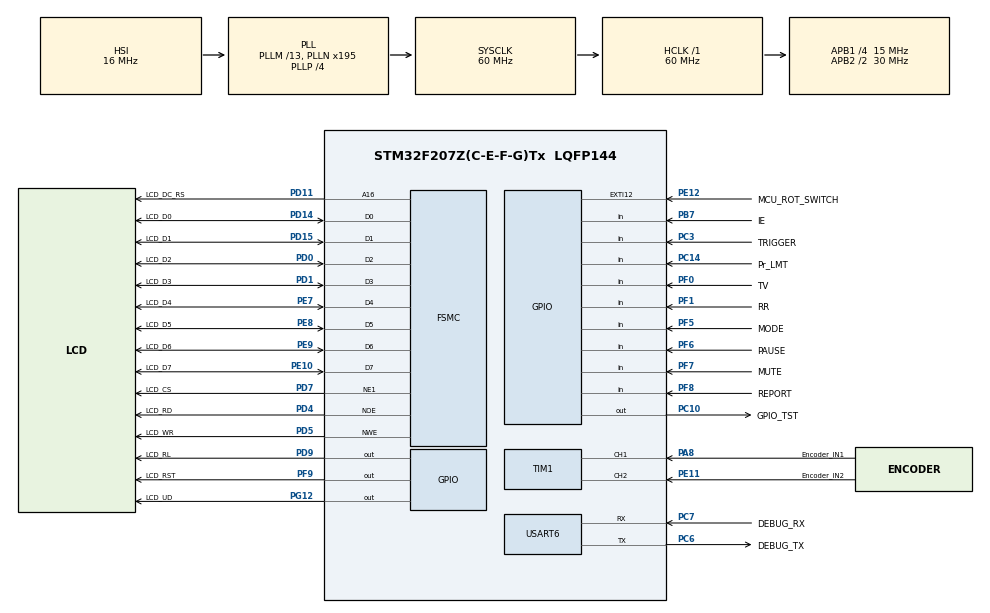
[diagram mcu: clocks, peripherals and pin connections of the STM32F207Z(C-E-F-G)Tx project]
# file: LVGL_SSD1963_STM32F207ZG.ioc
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FSMC.AddressSetupTime1=1
FSMC.BusTurnAroundDuration1=0
FSMC.DataSetupTime1=4
FSMC.ExtendedMode1=FSMC_EXTENDED_MODE_DISABLE
Mcu.Family=STM32F2
Mcu.Name=STM32F207Z(C-E-F-G)Tx
Mcu.Package=LQFP144
NVIC.EXTI15_10_IRQn=true\:0\:0\:false\:true\:true\:8\:true\:true
NVIC.PriorityGroup=NVIC_PRIORITYGROUP_4
NVIC.TIM1_CC_IRQn=true\:0\:0\:false\:true\:true\:7\:true\:true
NVIC.TIM7_IRQn=true\:0\:0\:false\:true\:true\:10\:true\:true
NVIC.USART6_IRQn=true\:0\:0\:false\:true\:true\:9\:true\:true
PA8.GPIO_Label=Encoder_IN1
PA8.GPIO_PuPd=GPIO_PULLUP
PA8.GPIO_Speed=GPIO_SPEED_FREQ_VERY_HIGH
PA8.Signal=S_TIM1_CH1
PB7.GPIO_Label=IE
PB7.GPIO_PuPd=GPIO_PULLDOWN
PB7.Signal=GPIO_Input
PC10.GPIO_Label=GPIO_TST
PC10.Signal=GPIO_Output
PC14-OSC32_IN.GPIO_Label=Pr_LMT
PC14-OSC32_IN.GPIO_PuPd=GPIO_PULLDOWN
PC14-OSC32_IN.Signal=GPIO_Input
PC3.GPIO_Label=TRIGGER
PC3.GPIO_PuPd=GPIO_PULLDOWN
PC3.Signal=GPIO_Input
PC6.GPIO_Label=DEBUG_TX
PC6.Mode=Asynchronous
PC6.Signal=USART6_TX
PC7.GPIO_Label=DEBUG_RX
PC7.Mode=Asynchronous
PC7.Signal=USART6_RX
PD0.GPIO_Label=LCD_D2
PD0.Signal=FSMC_D2_DA2
PD1.GPIO_Label=LCD_D3
PD1.Signal=FSMC_D3_DA3
PD11.GPIO_Label=LCD_DC_RS
PD11.Signal=FSMC_A16_CLE
PD14.GPIO_Label=LCD_D0
PD14.Signal=FSMC_D0_DA0
PD15.GPIO_Label=LCD_D1
PD15.Signal=FSMC_D1_DA1
PD4.GPIO_Label=LCD_RD
PD4.Signal=FSMC_NOE
PD5.GPIO_Label=LCD_WR
PD5.Signal=FSMC_NWE
PD7.GPIO_Label=LCD_CS
PD7.GPIO_PuPd=GPIO_PULLDOWN
PD7.Mode=NorPsramChipSelect1_1
PD7.Signal=FSMC_NE1
PD9.GPIO_Label=LCD_RL
PD9.GPIO_PuPd=GPIO_PULLUP
PD9.GPIO_Speed=GPIO_SPEED_FREQ_VERY_HIGH
PD9.PinState=GPIO_PIN_SET
PD9.Signal=GPIO_Output
PE10.GPIO_Label=LCD_D7
PE10.Signal=FSMC_D7_DA7
PE11.GPIO_Label=Encoder_IN2
PE11.GPIO_PuPd=GPIO_PULLDOWN
PE11.GPIO_Speed=GPIO_SPEED_FREQ_VERY_HIGH
PE11.Signal=S_TIM1_CH2
PE12.GPIO_Label=MCU_ROT_SWITCH
PE12.Signal=GPXTI12
PE7.GPIO_Label=LCD_D4
PE7.Signal=FSMC_D4_DA4
PE8.GPIO_Label=LCD_D5
PE8.Signal=FSMC_D5_DA5
PE9.GPIO_Label=LCD_D6
PE9.Signal=FSMC_D6_DA6
PF0.GPIO_Label=TV
PF0.GPIO_PuPd=GPIO_PULLDOWN
PF0.Signal=GPIO_Input
PF1.GPIO_Label=RR
PF1.GPIO_PuPd=GPIO_PULLDOWN
PF1.Signal=GPIO_Input
PF5.GPIO_Label=MODE
PF5.GPIO_PuPd=GPIO_PULLDOWN
PF5.Signal=GPIO_Input
PF6.GPIO_Label=PAUSE
PF6.GPIO_PuPd=GPIO_PULLDOWN
PF6.Signal=GPIO_Input
PF7.GPIO_Label=MUTE
PF7.GPIO_PuPd=GPIO_PULLDOWN
PF7.Signal=GPIO_Input
PF8.GPIO_Label=REPORT
PF8.GPIO_PuPd=GPIO_PULLDOWN
PF8.Signal=GPIO_Input
PF9.GPIO_Label=LCD_RST
PF9.GPIO_PuPd=GPIO_PULLUP
PF9.GPIO_Speed=GPIO_SPEED_FREQ_VERY_HIGH
PF9.PinState=GPIO_PIN_SET
PF9.Signal=GPIO_Output
PG12.GPIO_Label=LCD_UD
PG12.GPIO_PuPd=GPIO_PULLUP
PG12.GPIO_Speed=GPIO_SPEED_FREQ_VERY_HIGH
PG12.PinState=GPIO_PIN_RESET
PG12.Signal=GPIO_Output
PH0-OSC_IN.Mode=HSE-External-Oscillator
PH0-OSC_IN.Signal=RCC_OSC_IN
PH1-OSC_OUT.Mode=HSE-External-Oscillator
PH1-OSC_OUT.Signal=RCC_OSC_OUT
ProjectManager.HeapSize=0x200
ProjectManager.StackSize=0x400
ProjectManager.TargetToolchain=STM32CubeIDE
RCC.48MHZClocksFreq_Value=60000000
RCC.AHBFreq_Value=60000000
RCC.APB1CLKDivider=RCC_HCLK_DIV4
RCC.APB1Freq_Value=15000000
RCC.APB1TimFreq_Value=30000000
RCC.APB2CLKDivider=RCC_HCLK_DIV2
RCC.APB2Freq_Value=30000000
RCC.APB2TimFreq_Value=60000000
RCC.CortexFreq_Value=60000000
RCC.HCLKFreq_Value=60000000
RCC.HSE_VALUE=25000000
RCC.HSI_VALUE=16000000
RCC.LSE_VALUE=32768
RCC.PLLM=13
RCC.PLLN=195
RCC.PLLP=RCC_PLLP_DIV4
RCC.SYSCLKFreq_VALUE=60000000
RCC.SYSCLKSource=RCC_SYSCLKSOURCE_PLLCLK
RCC.VCOOutputFreq_Value=240000000
SH.FSMC_A16_CLE.0=FSMC_A16,A16_1
SH.FSMC_D0_DA0.0=FSMC_D0,8b-d1
SH.FSMC_D1_DA1.0=FSMC_D1,8b-d1
SH.FSMC_D2_DA2.0=FSMC_D2,8b-d1
SH.FSMC_D3_DA3.0=FSMC_D3,8b-d1
SH.FSMC_D4_DA4.0=FSMC_D4,8b-d1
SH.FSMC_D5_DA5.0=FSMC_D5,8b-d1
SH.FSMC_D6_DA6.0=FSMC_D6,8b-d1
SH.FSMC_D7_DA7.0=FSMC_D7,8b-d1
SH.FSMC_NOE.0=FSMC_NOE,Lcd1
SH.FSMC_NWE.0=FSMC_NWE,Lcd1
SH.S_TIM1_CH1.0=TIM1_CH1,Encoder_Interface
SH.S_TIM1_CH2.0=TIM1_CH2,Encoder_Interface
TIM7.AutoReloadPreload=TIM_AUTORELOAD_PRELOAD_ENABLE
TIM7.Period=1
TIM7.Prescaler=30000
USART6.VirtualMode=VM_ASYNC
VP_TIM7_VS_ClockSourceINT.Mode=Enable_Timer
board=custom

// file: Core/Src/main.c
/* USER CODE BEGIN Header */
/**
  ******************************************************************************
  * @file           : main.c
  * @brief          : Main program body
  ******************************************************************************
  * @attention
  *
  * <h2><center>&copy; Copyright (c) 2020 STMicroelectronics.
  * All rights reserved.</center></h2>
  *
  * This software component is licensed by ST under BSD 3-Clause license,
  * the "License"; You may not use this file except in compliance with the
  * License. You may obtain a copy of the License at:
  *                        opensource.org/licenses/BSD-3-Clause
  *
  ******************************************************************************
  */
/* USER CODE END Header */

#include "main.h"

/* USER CODE BEGIN Includes */
#include "../../Drivers/COMMON_DRV/Common.h"

/* USER CODE END Includes */

/* USER CODE BEGIN PTD */
extern char DBGBuff[128];
/* USER CODE END PTD */

/* USER CODE BEGIN PM */
GPIO_PinState HAL_OUTPUT_GPIO_Status(GPIO_TypeDef* GPIOx, uint16_t GPIO_Pin);

/* USER CODE END PM */

TIM_HandleTypeDef htim1;
TIM_HandleTypeDef htim7;

UART_HandleTypeDef huart6;

SRAM_HandleTypeDef hsram1;

void SystemClock_Config(void);
static void MX_GPIO_Init(void);
static void MX_FSMC_Init(void);
static void MX_TIM1_Init(void);
static void MX_USART6_UART_Init(void);
static void MX_TIM7_Init(void);
static void MX_NVIC_Init(void);

int main(void)
{

  /* MCU Configuration--------------------------------------------------------*/

  /* Reset of all peripherals, Initializes the Flash interface and the Systick. */
  HAL_Init();

  /* Configure the system clock */
  SystemClock_Config();

  /* Initialize all configured peripherals */
  MX_GPIO_Init();
  MX_FSMC_Init();
  MX_TIM1_Init();
  MX_USART6_UART_Init();
  MX_TIM7_Init();

  /* Initialize interrupts */
  MX_NVIC_Init();
  /* USER CODE BEGIN 2 */
  HAL_TIM_Base_Start_IT(&htim7);

  //LVGL Test
  lv_init();

  LVGL_GUI_Init();

  Ventilator_GUI_Init();

  /* USER CODE END 2 */

  /* Infinite loop */
  /* USER CODE BEGIN WHILE */
  while (1)
  {

	//create_chart();

	HAL_Delay(1);

    /* USER CODE END WHILE */

  }
}

void SystemClock_Config(void)
{
  RCC_OscInitTypeDef RCC_OscInitStruct = {0};
  RCC_ClkInitTypeDef RCC_ClkInitStruct = {0};

  /** Initializes the CPU, AHB and APB busses clocks
  */
  RCC_OscInitStruct.OscillatorType = RCC_OSCILLATORTYPE_HSI;
  RCC_OscInitStruct.HSIState = RCC_HSI_ON;
  RCC_OscInitStruct.HSICalibrationValue = RCC_HSICALIBRATION_DEFAULT;
  RCC_OscInitStruct.PLL.PLLState = RCC_PLL_ON;
  RCC_OscInitStruct.PLL.PLLSource = RCC_PLLSOURCE_HSI;
  RCC_OscInitStruct.PLL.PLLM = 13;
  RCC_OscInitStruct.PLL.PLLN = 195;
  RCC_OscInitStruct.PLL.PLLP = RCC_PLLP_DIV4;
  RCC_OscInitStruct.PLL.PLLQ = 4;
  if (HAL_RCC_OscConfig(&RCC_OscInitStruct) != HAL_OK)
  {
    Error_Handler();
  }
  /** Initializes the CPU, AHB and APB busses clocks
  */
  RCC_ClkInitStruct.ClockType = RCC_CLOCKTYPE_HCLK|RCC_CLOCKTYPE_SYSCLK
                              |RCC_CLOCKTYPE_PCLK1|RCC_CLOCKTYPE_PCLK2;
  RCC_ClkInitStruct.SYSCLKSource = RCC_SYSCLKSOURCE_PLLCLK;
  RCC_ClkInitStruct.AHBCLKDivider = RCC_SYSCLK_DIV1;
  RCC_ClkInitStruct.APB1CLKDivider = RCC_HCLK_DIV4;
  RCC_ClkInitStruct.APB2CLKDivider = RCC_HCLK_DIV2;

  if (HAL_RCC_ClockConfig(&RCC_ClkInitStruct, FLASH_LATENCY_1) != HAL_OK)
  {
    Error_Handler();
  }
}

/**
  * @brief NVIC Configuration.
  * @retval None
  */
static void MX_NVIC_Init(void)
{
  /* TIM1_CC_IRQn interrupt configuration */
  HAL_NVIC_SetPriority(TIM1_CC_IRQn, 0, 0);
  HAL_NVIC_EnableIRQ(TIM1_CC_IRQn);
  /* EXTI15_10_IRQn interrupt configuration */
  HAL_NVIC_SetPriority(EXTI15_10_IRQn, 0, 0);
  HAL_NVIC_EnableIRQ(EXTI15_10_IRQn);
  /* USART6_IRQn interrupt configuration */
  HAL_NVIC_SetPriority(USART6_IRQn, 0, 0);
  HAL_NVIC_EnableIRQ(USART6_IRQn);
  /* TIM7_IRQn interrupt configuration */
  HAL_NVIC_SetPriority(TIM7_IRQn, 0, 0);
  HAL_NVIC_EnableIRQ(TIM7_IRQn);
}

static void MX_TIM1_Init(void)
{

  TIM_Encoder_InitTypeDef sConfig = {0};
  TIM_MasterConfigTypeDef sMasterConfig = {0};

  htim1.Instance = TIM1;
  htim1.Init.Prescaler = 0;
  htim1.Init.CounterMode = TIM_COUNTERMODE_UP;
  htim1.Init.Period = 0;
  htim1.Init.ClockDivision = TIM_CLOCKDIVISION_DIV1;
  htim1.Init.RepetitionCounter = 0;
  htim1.Init.AutoReloadPreload = TIM_AUTORELOAD_PRELOAD_DISABLE;
  sConfig.EncoderMode = TIM_ENCODERMODE_TI1;
  sConfig.IC1Polarity = TIM_ICPOLARITY_RISING;
  sConfig.IC1Selection = TIM_ICSELECTION_DIRECTTI;
  sConfig.IC1Prescaler = TIM_ICPSC_DIV1;
  sConfig.IC1Filter = 0;
  sConfig.IC2Polarity = TIM_ICPOLARITY_RISING;
  sConfig.IC2Selection = TIM_ICSELECTION_DIRECTTI;
  sConfig.IC2Prescaler = TIM_ICPSC_DIV1;
  sConfig.IC2Filter = 0;
  if (HAL_TIM_Encoder_Init(&htim1, &sConfig) != HAL_OK)
  {
    Error_Handler();
  }
  sMasterConfig.MasterOutputTrigger = TIM_TRGO_RESET;
  sMasterConfig.MasterSlaveMode = TIM_MASTERSLAVEMODE_DISABLE;
  if (HAL_TIMEx_MasterConfigSynchronization(&htim1, &sMasterConfig) != HAL_OK)
  {
    Error_Handler();
  }

}

static void MX_TIM7_Init(void)
{

  TIM_MasterConfigTypeDef sMasterConfig = {0};

  htim7.Instance = TIM7;
  htim7.Init.Prescaler = 30000;
  htim7.Init.CounterMode = TIM_COUNTERMODE_UP;
  htim7.Init.Period = 1;
  htim7.Init.AutoReloadPreload = TIM_AUTORELOAD_PRELOAD_ENABLE;
  if (HAL_TIM_Base_Init(&htim7) != HAL_OK)
  {
    Error_Handler();
  }
  sMasterConfig.MasterOutputTrigger = TIM_TRGO_RESET;
  sMasterConfig.MasterSlaveMode = TIM_MASTERSLAVEMODE_DISABLE;
  if (HAL_TIMEx_MasterConfigSynchronization(&htim7, &sMasterConfig) != HAL_OK)
  {
    Error_Handler();
  }

}

static void MX_USART6_UART_Init(void)
{

  huart6.Instance = USART6;
  huart6.Init.BaudRate = 115200;
  huart6.Init.WordLength = UART_WORDLENGTH_8B;
  huart6.Init.StopBits = UART_STOPBITS_1;
  huart6.Init.Parity = UART_PARITY_NONE;
  huart6.Init.Mode = UART_MODE_TX_RX;
  huart6.Init.HwFlowCtl = UART_HWCONTROL_NONE;
  huart6.Init.OverSampling = UART_OVERSAMPLING_16;
  if (HAL_UART_Init(&huart6) != HAL_OK)
  {
    Error_Handler();
  }

}

static void MX_GPIO_Init(void)
{
  GPIO_InitTypeDef GPIO_InitStruct = {0};

  /* GPIO Ports Clock Enable */
  __HAL_RCC_GPIOC_CLK_ENABLE();
  __HAL_RCC_GPIOF_CLK_ENABLE();
  __HAL_RCC_GPIOH_CLK_ENABLE();
  __HAL_RCC_GPIOE_CLK_ENABLE();
  __HAL_RCC_GPIOD_CLK_ENABLE();
  __HAL_RCC_GPIOA_CLK_ENABLE();
  __HAL_RCC_GPIOG_CLK_ENABLE();
  __HAL_RCC_GPIOB_CLK_ENABLE();

  /*Configure GPIO pin Output Level */
  HAL_GPIO_WritePin(LCD_RST_GPIO_Port, LCD_RST_Pin, GPIO_PIN_SET);

  /*Configure GPIO pin Output Level */
  HAL_GPIO_WritePin(LCD_RL_GPIO_Port, LCD_RL_Pin, GPIO_PIN_SET);

  /*Configure GPIO pin Output Level */
  HAL_GPIO_WritePin(GPIO_TST_GPIO_Port, GPIO_TST_Pin, GPIO_PIN_RESET);

  /*Configure GPIO pin Output Level */
  HAL_GPIO_WritePin(LCD_UD_GPIO_Port, LCD_UD_Pin, GPIO_PIN_RESET);

  /*Configure GPIO pins : Pr_LMT_Pin TRIGGER_Pin */
  GPIO_InitStruct.Pin = Pr_LMT_Pin|TRIGGER_Pin;
  GPIO_InitStruct.Mode = GPIO_MODE_INPUT;
  GPIO_InitStruct.Pull = GPIO_PULLDOWN;
  HAL_GPIO_Init(GPIOC, &GPIO_InitStruct);

  /*Configure GPIO pins : TV_Pin RR_Pin MODE_Pin PAUSE_Pin
                           MUTE_Pin REPORT_Pin */
  GPIO_InitStruct.Pin = TV_Pin|RR_Pin|MODE_Pin|PAUSE_Pin
                          |MUTE_Pin|REPORT_Pin;
  GPIO_InitStruct.Mode = GPIO_MODE_INPUT;
  GPIO_InitStruct.Pull = GPIO_PULLDOWN;
  HAL_GPIO_Init(GPIOF, &GPIO_InitStruct);

  /*Configure GPIO pin : LCD_RST_Pin */
  GPIO_InitStruct.Pin = LCD_RST_Pin;
  GPIO_InitStruct.Mode = GPIO_MODE_OUTPUT_PP;
  GPIO_InitStruct.Pull = GPIO_PULLUP;
  GPIO_InitStruct.Speed = GPIO_SPEED_FREQ_VERY_HIGH;
  HAL_GPIO_Init(LCD_RST_GPIO_Port, &GPIO_InitStruct);

  /*Configure GPIO pin : MCU_ROT_SWITCH_Pin */
  GPIO_InitStruct.Pin = MCU_ROT_SWITCH_Pin;
  GPIO_InitStruct.Mode = GPIO_MODE_IT_RISING;
  GPIO_InitStruct.Pull = GPIO_NOPULL;
  HAL_GPIO_Init(MCU_ROT_SWITCH_GPIO_Port, &GPIO_InitStruct);

  /*Configure GPIO pin : LCD_RL_Pin */
  GPIO_InitStruct.Pin = LCD_RL_Pin;
  GPIO_InitStruct.Mode = GPIO_MODE_OUTPUT_PP;
  GPIO_InitStruct.Pull = GPIO_PULLUP;
  GPIO_InitStruct.Speed = GPIO_SPEED_FREQ_VERY_HIGH;
  HAL_GPIO_Init(LCD_RL_GPIO_Port, &GPIO_InitStruct);

  /*Configure GPIO pin : GPIO_TST_Pin */
  GPIO_InitStruct.Pin = GPIO_TST_Pin;
  GPIO_InitStruct.Mode = GPIO_MODE_OUTPUT_PP;
  GPIO_InitStruct.Pull = GPIO_NOPULL;
  GPIO_InitStruct.Speed = GPIO_SPEED_FREQ_LOW;
  HAL_GPIO_Init(GPIO_TST_GPIO_Port, &GPIO_InitStruct);

  /*Configure GPIO pin : LCD_UD_Pin */
  GPIO_InitStruct.Pin = LCD_UD_Pin;
  GPIO_InitStruct.Mode = GPIO_MODE_OUTPUT_PP;
  GPIO_InitStruct.Pull = GPIO_PULLUP;
  GPIO_InitStruct.Speed = GPIO_SPEED_FREQ_VERY_HIGH;
  HAL_GPIO_Init(LCD_UD_GPIO_Port, &GPIO_InitStruct);

  /*Configure GPIO pin : IE_Pin */
  GPIO_InitStruct.Pin = IE_Pin;
  GPIO_InitStruct.Mode = GPIO_MODE_INPUT;
  GPIO_InitStruct.Pull = GPIO_PULLDOWN;
  HAL_GPIO_Init(IE_GPIO_Port, &GPIO_InitStruct);

}

/* FSMC initialization function */
static void MX_FSMC_Init(void)
{

  FSMC_NORSRAM_TimingTypeDef Timing = {0};

  /** Perform the SRAM1 memory initialization sequence
  */
  hsram1.Instance = FSMC_NORSRAM_DEVICE;
  hsram1.Extended = FSMC_NORSRAM_EXTENDED_DEVICE;
  /* hsram1.Init */
  hsram1.Init.NSBank = FSMC_NORSRAM_BANK1;
  hsram1.Init.DataAddressMux = FSMC_DATA_ADDRESS_MUX_DISABLE;
  hsram1.Init.MemoryType = FSMC_MEMORY_TYPE_SRAM;
  hsram1.Init.MemoryDataWidth = FSMC_NORSRAM_MEM_BUS_WIDTH_8;
  hsram1.Init.BurstAccessMode = FSMC_BURST_ACCESS_MODE_DISABLE;
  hsram1.Init.WaitSignalPolarity = FSMC_WAIT_SIGNAL_POLARITY_LOW;
  hsram1.Init.WrapMode = FSMC_WRAP_MODE_DISABLE;
  hsram1.Init.WaitSignalActive = FSMC_WAIT_TIMING_BEFORE_WS;
  hsram1.Init.WriteOperation = FSMC_WRITE_OPERATION_ENABLE;
  hsram1.Init.WaitSignal = FSMC_WAIT_SIGNAL_DISABLE;
  hsram1.Init.ExtendedMode = FSMC_EXTENDED_MODE_DISABLE;
  hsram1.Init.AsynchronousWait = FSMC_ASYNCHRONOUS_WAIT_DISABLE;
  hsram1.Init.WriteBurst = FSMC_WRITE_BURST_DISABLE;
  /* Timing */
  Timing.AddressSetupTime = 1;
  Timing.AddressHoldTime = 15;
  Timing.DataSetupTime = 4;
  Timing.BusTurnAroundDuration = 0;
  Timing.CLKDivision = 16;
  Timing.DataLatency = 17;
  Timing.AccessMode = FSMC_ACCESS_MODE_A;
  /* ExtTiming */

  if (HAL_SRAM_Init(&hsram1, &Timing, NULL) != HAL_OK)
  {
    Error_Handler( );
  }

}

/* USER CODE BEGIN 4 */
void HAL_TIM_PeriodElapsedCallback(TIM_HandleTypeDef *htim)
{
	if (htim->Instance == TIM7)
	{
		static unsigned int ui32TimePrd =0;

		if( ui32TimePrd >= 1 )
		{
			//sprintf(DBGBuff,"TME-PRD[%d]\r\n",(ui32TimePrd));
			//HAL_UART_Transmit(&huart6,DBGBuff,strlen(DBGBuff), 1000);
			Lvgl_Tick_Loops((ui32TimePrd)); //Has 10 Milisecond Delay
			ui32TimePrd = 0;
		}

		ui32TimePrd++;
	}
}

GPIO_PinState HAL_OUTPUT_GPIO_Status(GPIO_TypeDef* GPIOx, uint16_t GPIO_Pin)
{
	GPIO_PinState bitstatus;

	/* Check the parameters */
	assert_param(IS_GPIO_PIN(GPIO_Pin));

	sprintf(DBGBuff,"ODR[%X]BSRR[%X]IDR[%X]\r\n",(GPIOx->ODR & GPIO_Pin),(GPIOx->BSRR & GPIO_Pin),(GPIOx->IDR & GPIO_Pin));
	HAL_UART_Transmit(&huart6,DBGBuff,strlen(DBGBuff), 1000);

}

void HAL_GPIO_EXTI_Callback(uint16_t GPIO_Pin)
{
	if(MODE_Pin == GPIO_Pin)
	{
		//ModeButton();
		sprintf(DBGBuff,"MODE_Pin[%d]\r\n",GPIO_Pin);
		HAL_UART_Transmit(&huart6,DBGBuff,strlen(DBGBuff), 1000);
	}

	if(TV_Pin == GPIO_Pin)
	{
		//ModeButton();
		sprintf(DBGBuff,"TV_Pin[%d]\r\n",GPIO_Pin);
		HAL_UART_Transmit(&huart6,DBGBuff,strlen(DBGBuff), 1000);
	}
}

/* USER CODE END 4 */

void Error_Handler(void)
{
}

/************************ (C) COPYRIGHT STMicroelectronics *****END OF FILE****/
